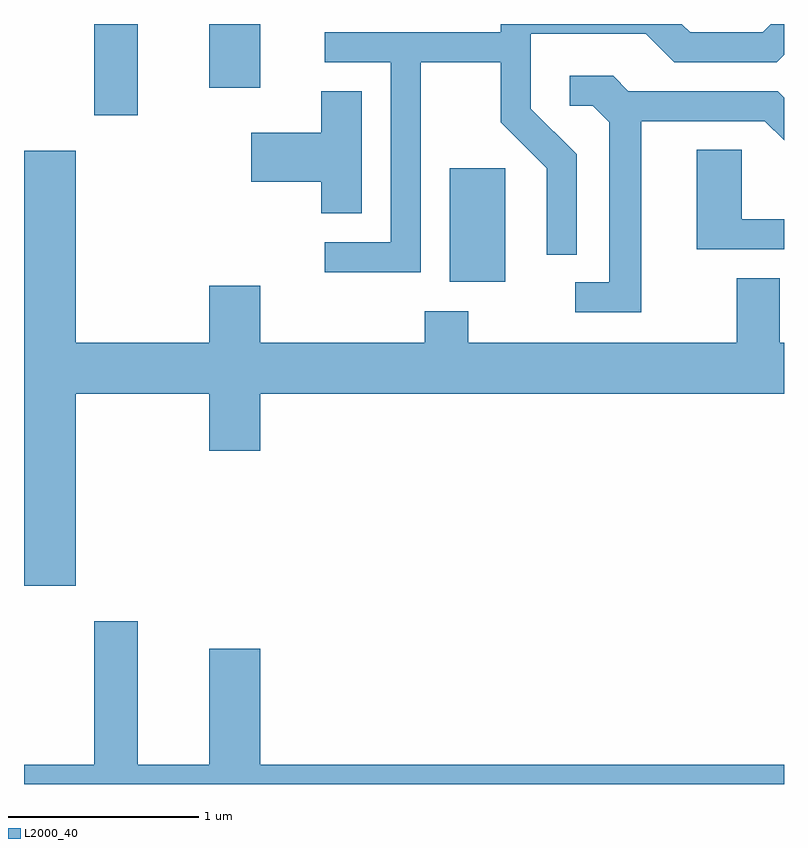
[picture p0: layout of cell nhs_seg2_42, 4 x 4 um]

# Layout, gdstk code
import gdstk
lib = gdstk.Library(unit=1e-6, precision=1e-09)
def R(c, l, rs):  # rectangles x0, y0, x1, y1
    for r in rs: c.add(gdstk.rectangle(r[:2], r[2:], *l))
def P(c, l, *ps):  # polygons
    for p in ps: c.add(gdstk.Polygon(p, *l))
L2000_40 = (2000, 40)

nhs_seg2_42 = lib.new_cell('nhs_seg2_42')
R(nhs_seg2_42, L2000_40, [(187.851,1064.446,188.144,1065.044), (185.981,1065.321,186.209,1065.802), (186.586,1065.466,186.854,1065.802)])
P(nhs_seg2_42, L2000_40, [(187.699,1065.601),(188.121,1065.601),(188.121,1065.284),(188.361,1065.044),(188.361,1064.588),(188.519,1064.588),(188.519,1065.117),(188.279,1065.357),(188.279,1065.751),(188.884,1065.751),(189.034,1065.601),(189.572,1065.601),(189.611,1065.64),(189.611,1065.802),(189.542,1065.802),(189.499,1065.759),(189.117,1065.759),(189.074,1065.802),(188.121,1065.802),(188.121,1065.759),(187.193,1065.759),(187.193,1065.601),(187.541,1065.601),(187.541,1064.654),(187.193,1064.654),(187.193,1064.496),(187.699,1064.496)],
  [(188.859,1065.291),(189.509,1065.291),(189.611,1065.189),(189.611,1065.415),(189.577,1065.449),(188.792,1065.449),(188.712,1065.529),(188.483,1065.529),(188.483,1065.371),(188.604,1065.371),(188.691,1065.284),(188.691,1064.444),(188.513,1064.444),(188.513,1064.286),(188.859,1064.286)],
  [(187.389,1065.449),(187.176,1065.449),(187.176,1065.229),(186.806,1065.229),(186.806,1064.971),(187.176,1064.971),(187.176,1064.806),(187.389,1064.806)],
  [(189.611,1064.774),(189.389,1064.774),(189.389,1065.139),(189.151,1065.139),(189.151,1064.616),(189.611,1064.616)],
  [(185.884,1063.856),(186.586,1063.856),(186.586,1063.556),(186.854,1063.556),(186.854,1063.856),(189.611,1063.856),(189.611,1064.124),(189.589,1064.124),(189.589,1064.464),(189.361,1064.464),(189.361,1064.124),(187.949,1064.124),(187.949,1064.289),(187.721,1064.289),(187.721,1064.124),(186.854,1064.124),(186.854,1064.424),(186.586,1064.424),(186.586,1064.124),(185.884,1064.124),(185.884,1065.134),(185.611,1065.134),(185.611,1062.846),(185.884,1062.846)],
  [(189.611,1061.904),(186.854,1061.904),(186.854,1062.514),(186.586,1062.514),(186.586,1061.904),(186.209,1061.904),(186.209,1062.659),(185.981,1062.659),(185.981,1061.904),(185.611,1061.904),(185.611,1061.802),(189.611,1061.802)])

lib.write_gds('nhs_seg2_42.gds')
